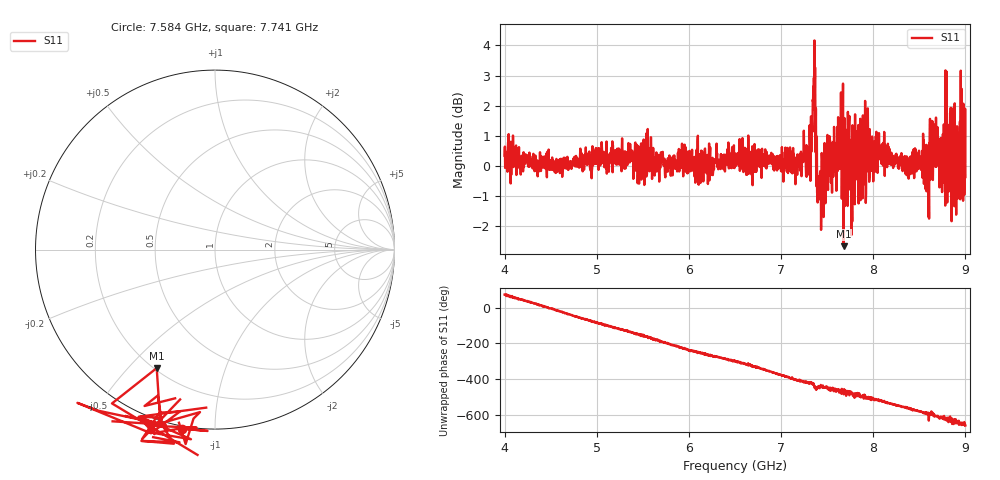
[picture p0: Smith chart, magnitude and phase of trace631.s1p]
! Created with skrf 1.8.0 (http://scikit-rf.org).
# Hz S RI R 50.0
!freq ReS11 ImS11
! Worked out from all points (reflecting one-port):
!   1601 points, 4 GHz to 9 GHz, reference 50 ohm
!   lowest |S11| = -2.7 dB at 7.678 GHz (marker M1), VSWR 6.56, Z = 10.5 - j30.1 ohm
!   phase of S11 starts at 73 deg and turns -730 deg over the sweep
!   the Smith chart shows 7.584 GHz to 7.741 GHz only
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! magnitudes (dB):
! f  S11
! 4 GHz  0.3
! 4.625 GHz  -0.4
! 5.25 GHz  0.0
! 5.875 GHz  -0.1
! 6.5 GHz  0.2
! 7.125 GHz  0.1
! 7.294 GHz  0.0
! 7.347 GHz  2.1
! 7.369 GHz  3.3
! 7.409 GHz  -1.1
! 7.512 GHz  0.4
! 7.609 GHz  -0.1
! 7.631 GHz  0.2
! 7.678 GHz  -2.7
! 7.75 GHz  0.9
! 7.784 GHz  0.4
! 7.8 GHz  -1.3
! 7.891 GHz  0.2
! 8.375 GHz  -0.1
! 8.522 GHz  0.3
! 8.581 GHz  -0.2
! 8.634 GHz  0.3
! 8.738 GHz  0.3
! 8.819 GHz  0.2
! 8.825 GHz  0.9
! 8.875 GHz  0.7
! 8.956 GHz  -0.1
! 9 GHz  -0.4
